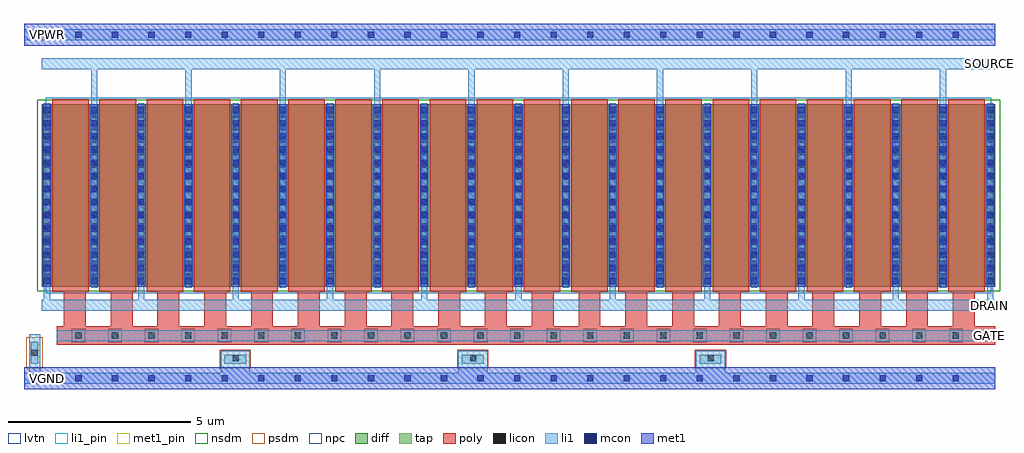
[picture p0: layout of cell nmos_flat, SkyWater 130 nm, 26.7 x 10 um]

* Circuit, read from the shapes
.subckt nmos_flat DRAIN GATE SOURCE VGND VPWR
XM1 SOURCE GATE DRAIN VGND sky130_fd_pr__nfet_01v8_lvt w=5 l=1 m=20
.ends

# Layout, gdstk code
import gdstk
lib = gdstk.Library(unit=1e-6, precision=1e-09)
def R(c, l, rs):  # rectangles x0, y0, x1, y1
    for r in rs: c.add(gdstk.rectangle(r[:2], r[2:], *l))
def A(c, l, x, y, w, h, nx, ny, dx, dy):  # array of equal rectangles
    R(c, l, [(x+i*dx, y+j*dy, x+i*dx+w, y+j*dy+h) for i in range(nx) for j in range(ny)])
diff = (65, 20)
tap = (65, 44)
poly = (66, 20)
licon = (66, 44)
li1_pin = (67, 16)
li1 = (67, 20)
mcon = (67, 44)
met1_pin = (68, 16)
met1 = (68, 20)
nsdm = (93, 44)
psdm = (94, 20)
npc = (95, 20)
lvtn = (125, 44)

nmos_flat = lib.new_cell('nmos_flat')
R(nmos_flat, diff, [(-13.045,-2.5,13.045,2.5)])
A(nmos_flat, tap, -8.05, -4.6, 0.6, 0.25, 3, 1, 6.5, 0)
R(nmos_flat, tap, [(-13.34,-4.6,-13.14,-4)])
A(nmos_flat, poly, -12.44, -3.58, 0.6, 0.95, 20, 1, 1.28, 0)
A(nmos_flat, poly, -12.755, -2.63, 1, 5.26, 20, 1, 1.29, 0)
R(nmos_flat, poly, [(-12.64,-4.08,13.04,-3.58)])
A(nmos_flat, licon, -7.825, -4.535, 0.17, 0.17, 3, 1, 6.5, 0)
A(nmos_flat, licon, -12.125, -3.915, 0.17, 0.17, 25, 1, 1, 0)
A(nmos_flat, licon, -12.985, -2.295, 0.17, 0.17, 21, 14, 1.29, 0.34)
R(nmos_flat, licon, [(-13.325,-4.385,-13.155,-4.215)])
R(nmos_flat, li1_pin, [(12.74,-3.98,13.04,-3.68), (12.74,-3.15,13.04,-2.85), (12.74,3.45,13.04,3.75)])
A(nmos_flat, li1, -8.15, -4.85, 0.8, 0.6, 3, 1, 6.5, 0)
A(nmos_flat, li1, -12.985, -2.85, 0.17, 5.37, 11, 1, 2.58, 0)
A(nmos_flat, li1, -11.695, -2.52, 0.17, 5.97, 10, 1, 2.58, 0)
R(nmos_flat, li1, [(-13.53,-5.15,13.04,-4.85), (-13.39,-4.85,-13.09,-3.8), (-12.64,-3.98,13.04,-3.68), (-13.04,-3.15,13.04,-2.85), (-13.04,3.45,13.04,3.75), (-13.53,4.25,13.04,4.55)])
A(nmos_flat, mcon, -12.125, -5.085, 0.17, 0.17, 25, 2, 1, 9.4)
A(nmos_flat, mcon, -12.985, -2.425, 0.17, 0.17, 21, 14, 1.29, 0.36)
R(nmos_flat, met1_pin, [(-13.04,-5.15,-12.74,-4.85), (-13.04,4.25,-12.74,4.55)])
A(nmos_flat, met1, -13.015, -2.5, 0.23, 5, 21, 1, 1.29, 0)
R(nmos_flat, met1, [(-13.53,-5.3,13.04,-4.7), (-13.53,4.1,13.04,4.7)])
R(nmos_flat, nsdm, [(-13.17,-2.625,13.17,2.625)])
A(nmos_flat, psdm, -8.175, -4.725, 0.85, 0.5, 3, 1, 6.5, 0)
R(nmos_flat, psdm, [(-13.465,-4.725,-13.015,-3.875)])
A(nmos_flat, npc, -12.225, -4.015, 0.37, 0.37, 25, 1, 1, 0)
R(nmos_flat, lvtn, [(-12.935,-2.68,12.935,2.68)])
nmos_flat.add(gdstk.Label('VPWR', (-12.89,4.4), layer=68, texttype=16))
nmos_flat.add(gdstk.Label('VGND', (-12.89,-5), layer=68, texttype=16))
nmos_flat.add(gdstk.Label('SOURCE', (12.89,3.6), layer=67, texttype=16))
nmos_flat.add(gdstk.Label('DRAIN', (12.89,-3), layer=67, texttype=16))
nmos_flat.add(gdstk.Label('GATE', (12.89,-3.83), layer=67, texttype=16))

lib.write_gds('nmos_flat.gds')
